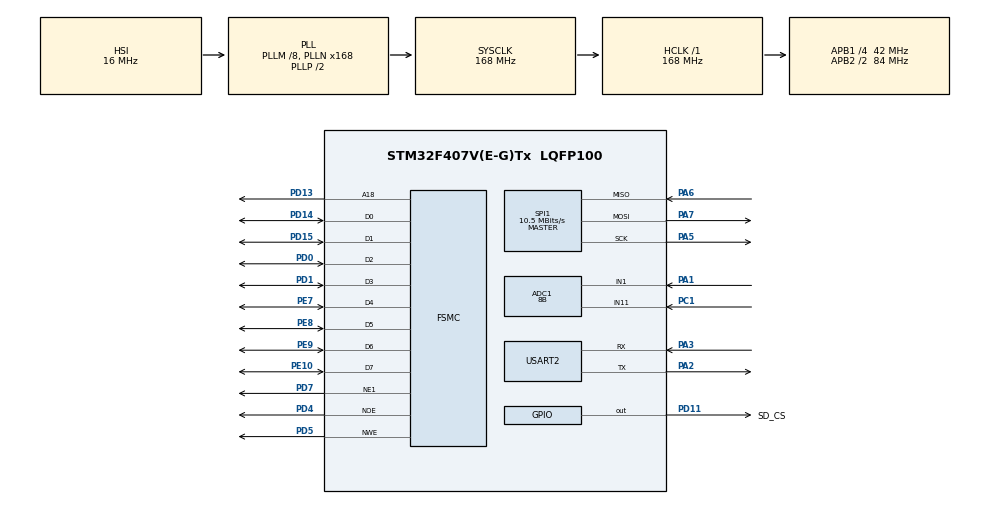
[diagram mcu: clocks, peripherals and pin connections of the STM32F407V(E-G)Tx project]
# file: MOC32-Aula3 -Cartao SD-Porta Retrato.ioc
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ADC1.Channel-2\#ChannelRegularConversion=ADC_CHANNEL_1
ADC1.Channel-4\#ChannelRegularConversion=ADC_CHANNEL_11
ADC1.ClockPrescaler=ADC_CLOCK_SYNC_PCLK_DIV4
ADC1.NbrOfConversion=2
ADC1.NbrOfConversionFlag=1
ADC1.Rank-2\#ChannelRegularConversion=1
ADC1.Rank-4\#ChannelRegularConversion=2
ADC1.Resolution=ADC_RESOLUTION_8B
ADC1.SamplingTime-2\#ChannelRegularConversion=ADC_SAMPLETIME_480CYCLES
ADC1.SamplingTime-4\#ChannelRegularConversion=ADC_SAMPLETIME_480CYCLES
ADC1.master=1
FATFS._MAX_SS=4096
FATFS._USE_LFN=1
FSMC.AddressSetupTime1=6
FSMC.BusTurnAroundDuration1=15
FSMC.DataSetupTime1=6
Mcu.Family=STM32F4
Mcu.Name=STM32F407V(E-G)Tx
Mcu.Package=LQFP100
NVIC.PriorityGroup=NVIC_PRIORITYGROUP_4
PA1.Signal=ADCx_IN1
PA2.Mode=Asynchronous
PA2.Signal=USART2_TX
PA3.Mode=Asynchronous
PA3.Signal=USART2_RX
PA5.Mode=Full_Duplex_Master
PA5.Signal=SPI1_SCK
PA6.Mode=Full_Duplex_Master
PA6.Signal=SPI1_MISO
PA7.Mode=Full_Duplex_Master
PA7.Signal=SPI1_MOSI
PC1.Signal=ADCx_IN11
PD0.Mode=8b-d1
PD0.Signal=FSMC_D2
PD1.Mode=8b-d1
PD1.Signal=FSMC_D3
PD11.GPIO_Label=SD_CS
PD11.GPIO_Speed=GPIO_SPEED_FREQ_MEDIUM
PD11.PinState=GPIO_PIN_SET
PD11.Signal=GPIO_Output
PD13.Mode=A18_1
PD13.Signal=FSMC_A18
PD14.Mode=8b-d1
PD14.Signal=FSMC_D0
PD15.Mode=8b-d1
PD15.Signal=FSMC_D1
PD4.Mode=Lcd1
PD4.Signal=FSMC_NOE
PD5.Mode=Lcd1
PD5.Signal=FSMC_NWE
PD7.Mode=NorPsramChipSelect1_1
PD7.Signal=FSMC_NE1
PE10.Mode=8b-d1
PE10.Signal=FSMC_D7
PE7.Mode=8b-d1
PE7.Signal=FSMC_D4
PE8.Mode=8b-d1
PE8.Signal=FSMC_D5
PE9.Mode=8b-d1
PE9.Signal=FSMC_D6
PH0-OSC_IN.Mode=HSE-External-Oscillator
PH0-OSC_IN.Signal=RCC_OSC_IN
PH1-OSC_OUT.Mode=HSE-External-Oscillator
PH1-OSC_OUT.Signal=RCC_OSC_OUT
ProjectManager.HeapSize=0x200
ProjectManager.StackSize=0x400
ProjectManager.TargetToolchain=STM32CubeIDE
RCC.48MHZClocksFreq_Value=84000000
RCC.AHBFreq_Value=168000000
RCC.APB1CLKDivider=RCC_HCLK_DIV4
RCC.APB1Freq_Value=42000000
RCC.APB1TimFreq_Value=84000000
RCC.APB2CLKDivider=RCC_HCLK_DIV2
RCC.APB2Freq_Value=84000000
RCC.APB2TimFreq_Value=168000000
RCC.CortexFreq_Value=168000000
RCC.HCLKFreq_Value=168000000
RCC.HSE_VALUE=8000000
RCC.HSI_VALUE=16000000
RCC.LSE_VALUE=32768
RCC.PLLM=8
RCC.PLLN=168
RCC.SYSCLKFreq_VALUE=168000000
RCC.SYSCLKSource=RCC_SYSCLKSOURCE_PLLCLK
RCC.VCOOutputFreq_Value=336000000
SH.ADCx_IN1.0=ADC1_IN1,IN1
SH.ADCx_IN11.0=ADC1_IN11,IN11
SPI1.BaudRatePrescaler=SPI_BAUDRATEPRESCALER_8
SPI1.CalculateBaudRate=10.5 MBits/s
SPI1.Direction=SPI_DIRECTION_2LINES
SPI1.Mode=SPI_MODE_MASTER
SPI1.VirtualType=VM_MASTER
USART2.VirtualMode=VM_ASYNC
VP_FATFS_VS_Generic.Mode=User_defined
board=custom

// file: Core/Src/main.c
/* USER CODE BEGIN Header */
/**
  ******************************************************************************
  * @file           : main.c
  * @brief          : Main program body
  ******************************************************************************
  * @attention
  *
  * Copyright (c) 2023 STMicroelectronics.
  * All rights reserved.
  *
  * This software is licensed under terms that can be found in the LICENSE file
  * in the root directory of this software component.
  * If no LICENSE file comes with this software, it is provided AS-IS.
  *
  ******************************************************************************
  */
/* USER CODE END Header */
#include "main.h"
#include "fatfs.h"

/* USER CODE BEGIN Includes */
#include "ili9341.h"
#include "common.h"
#include "fonts.h"
#include "lcd.h"
#include "math.h"
#include <stdbool.h>
#include "fatfs_sd.h"
#include <string.h>
#include <stdio.h>

/* USER CODE END Includes */

ADC_HandleTypeDef hadc1;

SPI_HandleTypeDef hspi1;

UART_HandleTypeDef huart2;

SRAM_HandleTypeDef hsram1;

/* USER CODE BEGIN PV */
FATFS fs0, fs1; /* Work area (filesystem object) for logical drives */
FIL fsrc, fdst; /* File objects */
BYTE buffer[4096]; /* File copy buffer */
FRESULT fr; /* FatFs function common result code */
UINT br, bw; /* File read/write count */
uint32_t first;
int32_t i;
int32_t size;
char texto[50];
char nome[40];
/* USER CODE END PV */

void SystemClock_Config(void);
static void MX_GPIO_Init(void);
static void MX_ADC1_Init(void);
static void MX_FSMC_Init(void);
static void MX_SPI1_Init(void);
static void MX_USART2_UART_Init(void);
/* USER CODE BEGIN PFP */
void sd_mount();
void sd_to_tft(char *filename);
/* USER CODE END PFP */

int main(void)
{

  /* MCU Configuration--------------------------------------------------------*/

  /* Reset of all peripherals, Initializes the Flash interface and the Systick. */
  HAL_Init();

  /* Configure the system clock */
  SystemClock_Config();

  /* Initialize all configured peripherals */
  MX_GPIO_Init();
  MX_ADC1_Init();
  MX_FSMC_Init();
  MX_SPI1_Init();
  MX_FATFS_Init();
  MX_USART2_UART_Init();
  /* USER CODE BEGIN 2 */
  ili9341_Init();
  sd_mount();
  /* USER CODE END 2 */

  /* Infinite loop */
  while (1)
  {

    /* USER CODE BEGIN 3 */
	  strcpy(nome, "imagens/golfinho1.bmp");
	  sd_to_tft(nome);
	  HAL_Delay(2000);

	  strcpy(nome, "imagens/golfinho2.bmp");
	  sd_to_tft(nome);
	  HAL_Delay(2000);

	  strcpy(nome, "imagens/golfinho3.bmp");
	  sd_to_tft(nome);
	  HAL_Delay(2000);

	  strcpy(nome, "imagens/golfinho4.bmp");
	  sd_to_tft(nome);
	  HAL_Delay(2000);

	  strcpy(nome, "imagens/golfinho5.bmp");
	  sd_to_tft(nome);
	  HAL_Delay(2000);

	  strcpy(nome, "imagens/golfinho6-1.bmp");
	  sd_to_tft(nome);
	  HAL_Delay(2000);

	  strcpy(nome, "imagens/golfinho7-1.bmp");
	  sd_to_tft(nome);
	  HAL_Delay(2000);
  }
  /* USER CODE END 3 */
}

void SystemClock_Config(void)
{
  RCC_OscInitTypeDef RCC_OscInitStruct = {0};
  RCC_ClkInitTypeDef RCC_ClkInitStruct = {0};

  /** Configure the main internal regulator output voltage
  */
  __HAL_RCC_PWR_CLK_ENABLE();
  __HAL_PWR_VOLTAGESCALING_CONFIG(PWR_REGULATOR_VOLTAGE_SCALE1);

  /** Initializes the RCC Oscillators according to the specified parameters
  * in the RCC_OscInitTypeDef structure.
  */
  RCC_OscInitStruct.OscillatorType = RCC_OSCILLATORTYPE_HSI;
  RCC_OscInitStruct.HSIState = RCC_HSI_ON;
  RCC_OscInitStruct.HSICalibrationValue = RCC_HSICALIBRATION_DEFAULT;
  RCC_OscInitStruct.PLL.PLLState = RCC_PLL_ON;
  RCC_OscInitStruct.PLL.PLLSource = RCC_PLLSOURCE_HSI;
  RCC_OscInitStruct.PLL.PLLM = 8;
  RCC_OscInitStruct.PLL.PLLN = 168;
  RCC_OscInitStruct.PLL.PLLP = RCC_PLLP_DIV2;
  RCC_OscInitStruct.PLL.PLLQ = 4;
  if (HAL_RCC_OscConfig(&RCC_OscInitStruct) != HAL_OK)
  {
    Error_Handler();
  }

  /** Initializes the CPU, AHB and APB buses clocks
  */
  RCC_ClkInitStruct.ClockType = RCC_CLOCKTYPE_HCLK|RCC_CLOCKTYPE_SYSCLK
                              |RCC_CLOCKTYPE_PCLK1|RCC_CLOCKTYPE_PCLK2;
  RCC_ClkInitStruct.SYSCLKSource = RCC_SYSCLKSOURCE_PLLCLK;
  RCC_ClkInitStruct.AHBCLKDivider = RCC_SYSCLK_DIV1;
  RCC_ClkInitStruct.APB1CLKDivider = RCC_HCLK_DIV4;
  RCC_ClkInitStruct.APB2CLKDivider = RCC_HCLK_DIV2;

  if (HAL_RCC_ClockConfig(&RCC_ClkInitStruct, FLASH_LATENCY_5) != HAL_OK)
  {
    Error_Handler();
  }
}

static void MX_ADC1_Init(void)
{

  ADC_ChannelConfTypeDef sConfig = {0};

  /** Configure the global features of the ADC (Clock, Resolution, Data Alignment and number of conversion)
  */
  hadc1.Instance = ADC1;
  hadc1.Init.ClockPrescaler = ADC_CLOCK_SYNC_PCLK_DIV4;
  hadc1.Init.Resolution = ADC_RESOLUTION_8B;
  hadc1.Init.ScanConvMode = ENABLE;
  hadc1.Init.ContinuousConvMode = DISABLE;
  hadc1.Init.DiscontinuousConvMode = DISABLE;
  hadc1.Init.ExternalTrigConvEdge = ADC_EXTERNALTRIGCONVEDGE_NONE;
  hadc1.Init.ExternalTrigConv = ADC_SOFTWARE_START;
  hadc1.Init.DataAlign = ADC_DATAALIGN_RIGHT;
  hadc1.Init.NbrOfConversion = 2;
  hadc1.Init.DMAContinuousRequests = DISABLE;
  hadc1.Init.EOCSelection = ADC_EOC_SINGLE_CONV;
  if (HAL_ADC_Init(&hadc1) != HAL_OK)
  {
    Error_Handler();
  }

  /** Configure for the selected ADC regular channel its corresponding rank in the sequencer and its sample time.
  */
  sConfig.Channel = ADC_CHANNEL_1;
  sConfig.Rank = 1;
  sConfig.SamplingTime = ADC_SAMPLETIME_480CYCLES;
  if (HAL_ADC_ConfigChannel(&hadc1, &sConfig) != HAL_OK)
  {
    Error_Handler();
  }

  /** Configure for the selected ADC regular channel its corresponding rank in the sequencer and its sample time.
  */
  sConfig.Channel = ADC_CHANNEL_11;
  sConfig.Rank = 2;
  if (HAL_ADC_ConfigChannel(&hadc1, &sConfig) != HAL_OK)
  {
    Error_Handler();
  }

}

static void MX_SPI1_Init(void)
{

  /* SPI1 parameter configuration*/
  hspi1.Instance = SPI1;
  hspi1.Init.Mode = SPI_MODE_MASTER;
  hspi1.Init.Direction = SPI_DIRECTION_2LINES;
  hspi1.Init.DataSize = SPI_DATASIZE_8BIT;
  hspi1.Init.CLKPolarity = SPI_POLARITY_LOW;
  hspi1.Init.CLKPhase = SPI_PHASE_1EDGE;
  hspi1.Init.NSS = SPI_NSS_SOFT;
  hspi1.Init.BaudRatePrescaler = SPI_BAUDRATEPRESCALER_8;
  hspi1.Init.FirstBit = SPI_FIRSTBIT_MSB;
  hspi1.Init.TIMode = SPI_TIMODE_DISABLE;
  hspi1.Init.CRCCalculation = SPI_CRCCALCULATION_DISABLE;
  hspi1.Init.CRCPolynomial = 10;
  if (HAL_SPI_Init(&hspi1) != HAL_OK)
  {
    Error_Handler();
  }

}

static void MX_USART2_UART_Init(void)
{

  huart2.Instance = USART2;
  huart2.Init.BaudRate = 115200;
  huart2.Init.WordLength = UART_WORDLENGTH_8B;
  huart2.Init.StopBits = UART_STOPBITS_1;
  huart2.Init.Parity = UART_PARITY_NONE;
  huart2.Init.Mode = UART_MODE_TX_RX;
  huart2.Init.HwFlowCtl = UART_HWCONTROL_NONE;
  huart2.Init.OverSampling = UART_OVERSAMPLING_16;
  if (HAL_UART_Init(&huart2) != HAL_OK)
  {
    Error_Handler();
  }

}

static void MX_GPIO_Init(void)
{
  GPIO_InitTypeDef GPIO_InitStruct = {0};

  /* GPIO Ports Clock Enable */
  __HAL_RCC_GPIOH_CLK_ENABLE();
  __HAL_RCC_GPIOC_CLK_ENABLE();
  __HAL_RCC_GPIOA_CLK_ENABLE();
  __HAL_RCC_GPIOE_CLK_ENABLE();
  __HAL_RCC_GPIOD_CLK_ENABLE();

  /*Configure GPIO pin Output Level */
  HAL_GPIO_WritePin(SD_CS_GPIO_Port, SD_CS_Pin, GPIO_PIN_SET);

  /*Configure GPIO pin : SD_CS_Pin */
  GPIO_InitStruct.Pin = SD_CS_Pin;
  GPIO_InitStruct.Mode = GPIO_MODE_OUTPUT_PP;
  GPIO_InitStruct.Pull = GPIO_NOPULL;
  GPIO_InitStruct.Speed = GPIO_SPEED_FREQ_MEDIUM;
  HAL_GPIO_Init(SD_CS_GPIO_Port, &GPIO_InitStruct);

}

/* FSMC initialization function */
static void MX_FSMC_Init(void)
{

  FSMC_NORSRAM_TimingTypeDef Timing = {0};

  /** Perform the SRAM1 memory initialization sequence
  */
  hsram1.Instance = FSMC_NORSRAM_DEVICE;
  hsram1.Extended = FSMC_NORSRAM_EXTENDED_DEVICE;
  /* hsram1.Init */
  hsram1.Init.NSBank = FSMC_NORSRAM_BANK1;
  hsram1.Init.DataAddressMux = FSMC_DATA_ADDRESS_MUX_DISABLE;
  hsram1.Init.MemoryType = FSMC_MEMORY_TYPE_SRAM;
  hsram1.Init.MemoryDataWidth = FSMC_NORSRAM_MEM_BUS_WIDTH_8;
  hsram1.Init.BurstAccessMode = FSMC_BURST_ACCESS_MODE_DISABLE;
  hsram1.Init.WaitSignalPolarity = FSMC_WAIT_SIGNAL_POLARITY_LOW;
  hsram1.Init.WrapMode = FSMC_WRAP_MODE_DISABLE;
  hsram1.Init.WaitSignalActive = FSMC_WAIT_TIMING_BEFORE_WS;
  hsram1.Init.WriteOperation = FSMC_WRITE_OPERATION_ENABLE;
  hsram1.Init.WaitSignal = FSMC_WAIT_SIGNAL_DISABLE;
  hsram1.Init.ExtendedMode = FSMC_EXTENDED_MODE_DISABLE;
  hsram1.Init.AsynchronousWait = FSMC_ASYNCHRONOUS_WAIT_DISABLE;
  hsram1.Init.WriteBurst = FSMC_WRITE_BURST_DISABLE;
  hsram1.Init.PageSize = FSMC_PAGE_SIZE_NONE;
  /* Timing */
  Timing.AddressSetupTime = 6;
  Timing.AddressHoldTime = 15;
  Timing.DataSetupTime = 6;
  Timing.BusTurnAroundDuration = 15;
  Timing.CLKDivision = 16;
  Timing.DataLatency = 17;
  Timing.AccessMode = FSMC_ACCESS_MODE_A;
  /* ExtTiming */

  if (HAL_SRAM_Init(&hsram1, &Timing, NULL) != HAL_OK)
  {
    Error_Handler( );
  }

}

/* USER CODE BEGIN 4 */
void sd_mount()
{
    // Mensagem de texto
	ili9341_Printnewtstr(20, COLOR_YELLOW, &mono12x7bold, 1, (uint8_t *)"Teste SD Card");
    //=================================================================
    // Exemplo de LEITURA de BITMAP e escrita no LCD====================
    //=================================================================
    size = sprintf(texto, "Exemplo de LEITURA de BITMAP e escrita no LCD\r\n");
    HAL_UART_Transmit(&huart2, (uint8_t *)texto, size, 100);
    // Prepara a área de trabalho para o FatFs
    fr = f_mount(&fs0, "", 0);
    if (fr != FR_OK)
    {
        size = sprintf(texto, "f_mount error: %d\r\n", (int)fr);
        HAL_UART_Transmit(&huart2, (uint8_t *)texto, size, 100);
        ili9341_Printnewtstr(100, COLOR_RED, &mono12x7bold, 1, (uint8_t *)"Falha!!!");
        //return 1;
    }
}

void sd_to_tft(char *filename)
{
    // Primeiro bloco de dados, onde está o cabeçalho do BMP
    first = 1;
    //"Limpa" o buffer
    buffer[0] = 0;
    // Define o nome do arquivo BMP 24 bits a ser aberto
    //strcpy(nome, "Imagens/Homer2in.bmp");
    // strcpy(buffer, "Imagens/Lisa.bmp");
    // Abre o arquivo como leitura
    fr = f_open(&fsrc, filename, FA_READ);
    // Se teve sucesso
    if (fr == FR_OK)
    {
        // Loop de leitura de setores (512 bytes), lê até acabar o arquivo
        do
        {
            // Lê um setor do arquivo e armazena no buffer temporário
            fr = f_read(&fsrc,        /* [IN] File object */
                        buffer,       /* [OUT] Buffer to store read data */
                        512,          /* [IN] Number of bytes to read */
                        (UINT *)&br); /* [OUT] Number of bytes read */
            // Se ocorrer algum erro mostra na UART e aborta
            if (fr != FR_OK)
            {
                size = sprintf(texto, "f_mount error: %d\r\n", (int)fr);
                HAL_UART_Transmit(&huart2, (uint8_t *)texto, size, 100);
            }
            // Termina o bloco lido com um caractere nulo (sem efeito para o LCD)
            buffer[br] = 0;
            // Envia byte a byte em hexa pela UART
            //  for (i = 0; i < br; i++)
            //  {
            //  size = sprintf(texto, "%02X ",buffer[i]);
            //  HAL_UART_Transmit(&huart2, (uint8_t *)texto, size, 1000);
            //  }
            // Envia o setor para o LCD
            LCD_TxBMP((unsigned char *)buffer, first);
            // Limpa a flag de primeiro setor (cabeçalho nos primeiros 54 bytes)
            first = 0;
        } while (br == 512);
        // Repete até a quantidade lida for menor que o buffer, indicação que acabou o arquivo (último pacote)
        // Fecha o arquivo (não é necessário para leitura, mas recomendado para compatibilidade futura)
        fr = f_close(&fsrc);
        // Se teve sucesso
        if (fr == FR_OK)
        {
            size = sprintf(texto, "\r\nArquivo fechado com sucesso\r\n");
            HAL_UART_Transmit(&huart2, (uint8_t *)texto, size, 100);
        }
    }
    if (fr == FR_OK)
    {
        size = sprintf(texto, "\r\nArquivo 2 lido com sucesso\r\n");
        HAL_UART_Transmit(&huart2, (uint8_t *)texto, size, 100);
    }
    HAL_Delay(3000);
    ili9341_Printnewtstr(200, COLOR_YELLOW, &mono12x7bold, 1,(uint8_t *)" Escrita no LCD ");
    ili9341_Printnewtstr(220, COLOR_YELLOW, &mono12x7bold, 1,(uint8_t *)" apos acesso ao ");
    ili9341_Printnewtstr(240, COLOR_YELLOW, &mono12x7bold, 1,(uint8_t *)" SD Card ");
    HAL_Delay(2000);
    //ili9341_FillScreen(COLOR_BLACK);
    HAL_Delay(2000);
}

/* USER CODE END 4 */

void Error_Handler(void)
{
  __disable_irq();
  while (1)
  {
  }
}
